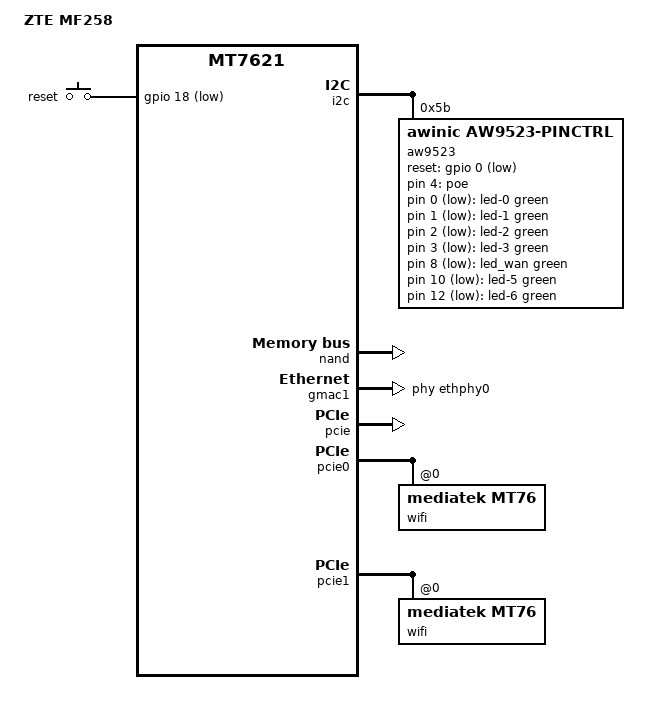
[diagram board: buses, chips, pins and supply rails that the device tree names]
// SPDX-License-Identifier: GPL-2.0-or-later OR MIT

/dts-v1/;

#include "mt7621.dtsi"

#include <dt-bindings/gpio/gpio.h>
#include <dt-bindings/input/input.h>
#include <dt-bindings/leds/common.h>

/ {
	compatible = "zte,mf258", "mediatek,mt7621-soc";
	model = "ZTE MF258";

	aliases {
		led-boot = &led_wan;
		led-failsafe = &led_wan;
		led-running = &led_wan;
		led-upgrade = &led_wan;
	};

	/*
	 * AW9523B P0_4 switches the 24V passive PoE on the WAN port, which
	 * powers the outdoor LTE unit. Low cuts the power.
	 */
	gpio-export {
		compatible = "gpio-export";

		poe {
			gpio-export,name = "poe";
			gpio-export,output = <1>;
			gpios = <&aw9523 4 GPIO_ACTIVE_HIGH>;
		};
	};

	keys {
		compatible = "gpio-keys";

		reset {
			label = "reset";
			gpios = <&gpio 18 GPIO_ACTIVE_LOW>;
			linux,code = <KEY_RESTART>;
		};
	};

	leds {
		compatible = "gpio-leds";

		led-0 {
			color = <LED_COLOR_ID_GREEN>;
			function = "sig1";
			gpios = <&aw9523 0 GPIO_ACTIVE_LOW>;
		};

		led-1 {
			color = <LED_COLOR_ID_GREEN>;
			function = "sig2";
			gpios = <&aw9523 1 GPIO_ACTIVE_LOW>;
		};

		led-2 {
			color = <LED_COLOR_ID_GREEN>;
			function = "sig3";
			gpios = <&aw9523 2 GPIO_ACTIVE_LOW>;
		};

		led-3 {
			color = <LED_COLOR_ID_GREEN>;
			function = "sig4";
			gpios = <&aw9523 3 GPIO_ACTIVE_LOW>;
		};

		led_wan: led-4 {
			color = <LED_COLOR_ID_GREEN>;
			function = LED_FUNCTION_WAN;
			gpios = <&aw9523 8 GPIO_ACTIVE_LOW>;
		};

		led-5 {
			color = <LED_COLOR_ID_GREEN>;
			function = LED_FUNCTION_WLAN_5GHZ;
			gpios = <&aw9523 10 GPIO_ACTIVE_LOW>;
			linux,default-trigger = "phy1radio";
		};

		led-6 {
			color = <LED_COLOR_ID_GREEN>;
			function = LED_FUNCTION_WLAN_2GHZ;
			gpios = <&aw9523 12 GPIO_ACTIVE_LOW>;
			linux,default-trigger = "phy0radio";
		};
	};
};

&state_default {
	gpio {
		groups = "wdt";
		function = "gpio";
	};
};

&i2c {
	status = "okay";

	/*
	 * RSTN of the AW9523B is not routed to any SoC GPIO, so the chip
	 * is reset over I2C. The pinctrl-aw9523 driver requires
	 * reset-gpios, so SoC GPIO0, which has no known function on this
	 * board, is claimed as a placeholder and kept as an output by the
	 * driver.
	 */
	aw9523: gpio-expander@5b {
		compatible = "awinic,aw9523-pinctrl";
		reg = <0x5b>;
		reset-gpios = <&gpio 0 GPIO_ACTIVE_LOW>;
		gpio-controller;
		#gpio-cells = <2>;
		gpio-ranges = <&aw9523 0 0 16>;
	};
};

&nand {
	status = "okay";

	partitions {
		compatible = "fixed-partitions";
		#address-cells = <1>;
		#size-cells = <1>;

		partition@0 {
			label = "Bootloader";
			reg = <0x0 0x80000>;
			read-only;
		};

		partition@80000 {
			label = "Config";
			reg = <0x80000 0x80000>;
		};

		partition@100000 {
			label = "Factory";
			reg = <0x100000 0x100000>;
			read-only;

			nvmem-layout {
				compatible = "fixed-layout";
				#address-cells = <1>;
				#size-cells = <1>;

				eeprom_factory_0: eeprom@0 {
					reg = <0x0 0x400>;
				};

				eeprom_factory_8000: eeprom@8000 {
					reg = <0x8000 0x4da8>;
				};

				macaddr_lan: macaddr@e000 {
					reg = <0xe000 0x6>;
				};

				macaddr_wan: macaddr@e006 {
					reg = <0xe006 0x6>;
				};
			};
		};

		/* 0x200000 - 0xf00000: OEM partitions, left untouched */

		/* U-Boot loads the kernel from this fixed offset */
		partition@f00000 {
			label = "kernel";
			reg = <0xf00000 0x800000>;
		};

		partition@1700000 {
			label = "ubi";
			reg = <0x1700000 0x6880000>;
		};
	};
};

&gmac0 {
	nvmem-cells = <&macaddr_lan>;
	nvmem-cell-names = "mac-address";
};

&gmac1 {
	status = "okay";
	label = "wan";
	phy-handle = <&ethphy0>;

	nvmem-cells = <&macaddr_wan>;
	nvmem-cell-names = "mac-address";
};

&ethphy0 {
	/delete-property/ interrupts;
};

&switch0 {
	ports {
		port@2 {
			status = "okay";
			label = "lan1";
		};

		port@4 {
			status = "okay";
			label = "lan2";
		};
	};
};

&pcie {
	status = "okay";
};

&pcie0 {
	wifi@0,0 {
		compatible = "mediatek,mt76";
		reg = <0x0000 0 0 0 0>;
		nvmem-cells = <&eeprom_factory_0>;
		nvmem-cell-names = "eeprom";
	};
};

&pcie1 {
	wifi@0,0 {
		compatible = "mediatek,mt76";
		reg = <0x0000 0 0 0 0>;
		nvmem-cells = <&eeprom_factory_8000>;
		nvmem-cell-names = "eeprom";
	};
};

&xhci {
	status = "disabled";
};
